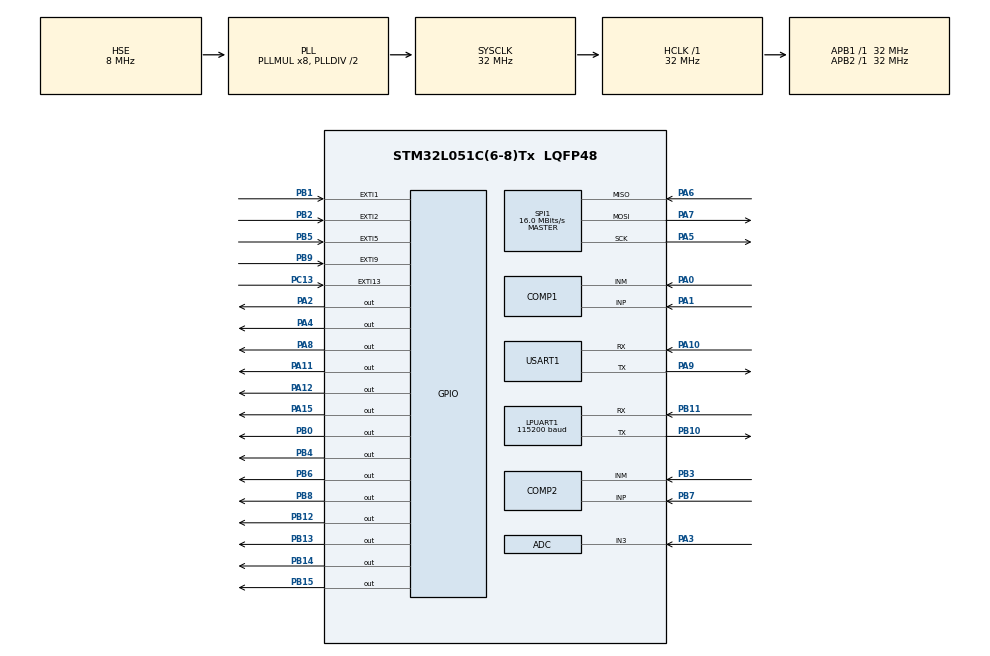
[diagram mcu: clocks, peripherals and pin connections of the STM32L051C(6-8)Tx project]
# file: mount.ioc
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COMP1.TriggerMode=COMP_TRIGGERMODE_IT_RISING
COMP2.TriggerMode=COMP_TRIGGERMODE_IT_RISING
Dma.LPUART1_RX.0.Direction=DMA_PERIPH_TO_MEMORY
Dma.LPUART1_RX.0.Instance=DMA1_Channel3
Dma.LPUART1_RX.0.MemDataAlignment=DMA_MDATAALIGN_BYTE
Dma.LPUART1_RX.0.MemInc=DMA_MINC_ENABLE
Dma.LPUART1_RX.0.Mode=DMA_NORMAL
Dma.LPUART1_RX.0.PeriphDataAlignment=DMA_PDATAALIGN_BYTE
Dma.LPUART1_RX.0.PeriphInc=DMA_PINC_DISABLE
Dma.LPUART1_RX.0.Priority=DMA_PRIORITY_LOW
Dma.Request0=LPUART1_RX
Dma.Request1=USART1_TX
Dma.USART1_TX.1.Direction=DMA_MEMORY_TO_PERIPH
Dma.USART1_TX.1.Instance=DMA1_Channel2
Dma.USART1_TX.1.MemDataAlignment=DMA_MDATAALIGN_BYTE
Dma.USART1_TX.1.MemInc=DMA_MINC_ENABLE
Dma.USART1_TX.1.Mode=DMA_NORMAL
Dma.USART1_TX.1.PeriphDataAlignment=DMA_PDATAALIGN_BYTE
Dma.USART1_TX.1.PeriphInc=DMA_PINC_DISABLE
Dma.USART1_TX.1.Priority=DMA_PRIORITY_LOW
FREERTOS.BinarySemaphores01=Uart1Lock
FREERTOS.INCLUDE_eTaskGetState=1
FREERTOS.Mutexes01=EventLock
FREERTOS.Queues01=EventQ,10,EventTypeDef,NULL;UartQ,16,uint8_t,NULL
FREERTOS.Tasks01=defaultTask,-2,128,StartDefaultTask,Default;eventhandle,3,128,Event_Task,Default;lte,0,256,Lte_Task,Default;s2lhanlde,2,128,S2L_Task,Default
FREERTOS.configTOTAL_HEAP_SIZE=5000
LPUART1.BaudRate=115200
LPUART1.WordLength=UART_WORDLENGTH_8B
Mcu.Family=STM32L0
Mcu.Name=STM32L051C(6-8)Tx
Mcu.Package=LQFP48
NVIC.ADC1_COMP_IRQn=true\:3\:0\:false\:false\:true\:true
NVIC.DMA1_Channel2_3_IRQn=true\:3\:0\:false\:false\:true\:true
NVIC.EXTI0_1_IRQn=true\:3\:0\:false\:false\:true\:true
NVIC.EXTI2_3_IRQn=true\:3\:0\:false\:false\:true\:true
NVIC.EXTI4_15_IRQn=true\:3\:0\:false\:false\:true\:true
NVIC.RTC_IRQn=true\:3\:0\:false\:false\:true\:true
NVIC.USART1_IRQn=true\:3\:0\:false\:false\:false\:true
PA0.Mode=INM
PA0.Signal=COMP1_INM
PA1.Mode=INP
PA1.Signal=COMP1_INP
PA10.Mode=Asynchronous
PA10.Signal=USART1_RX
PA11.Signal=GPIO_Output
PA12.Signal=GPIO_Output
PA13.Mode=Serial_Wire
PA13.Signal=SYS_SWDIO
PA14.Mode=Serial_Wire
PA14.Signal=SYS_SWCLK
PA15.Signal=GPIO_Output
PA2.Signal=GPIO_Output
PA3.Mode=IN3
PA3.Signal=ADC_IN3
PA4.Signal=GPIO_Output
PA5.Mode=Full_Duplex_Master
PA5.Signal=SPI1_SCK
PA6.Mode=Full_Duplex_Master
PA6.Signal=SPI1_MISO
PA7.Mode=Full_Duplex_Master
PA7.Signal=SPI1_MOSI
PA8.Signal=GPIO_Output
PA9.Mode=Asynchronous
PA9.Signal=USART1_TX
PB0.Signal=GPIO_Output
PB1.Signal=GPXTI1
PB10.Mode=Asynchronous
PB10.Signal=LPUART1_TX
PB11.Mode=Asynchronous
PB11.Signal=LPUART1_RX
PB12.Signal=GPIO_Output
PB13.Signal=GPIO_Output
PB14.Signal=GPIO_Output
PB15.Signal=GPIO_Output
PB2.Signal=GPXTI2
PB3.Mode=INM
PB3.Signal=COMP2_INM
PB4.Signal=GPIO_Output
PB5.GPIO_ModeDefaultEXTI=GPIO_MODE_IT_FALLING
PB5.Signal=GPXTI5
PB6.Signal=GPIO_Output
PB7.Mode=INP
PB7.Signal=COMP2_INP
PB8.Signal=GPIO_Output
PB9.GPIO_ModeDefaultEXTI=GPIO_MODE_IT_RISING_FALLING
PB9.Signal=GPXTI9
PC13.GPIO_ModeDefaultEXTI=GPIO_MODE_IT_RISING_FALLING
PC13.GPIO_PuPd=GPIO_PULLUP
PC13.Signal=GPXTI13
PC14-OSC32_IN.Mode=LSE-External-Oscillator
PC14-OSC32_IN.Signal=RCC_OSC32_IN
PC15-OSC32_OUT.Mode=LSE-External-Oscillator
PC15-OSC32_OUT.Signal=RCC_OSC32_OUT
PH0-OSC_IN.Mode=HSE-External-Oscillator
PH0-OSC_IN.Signal=RCC_OSC_IN
PH1-OSC_OUT.Mode=HSE-External-Oscillator
PH1-OSC_OUT.Signal=RCC_OSC_OUT
ProjectManager.HeapSize=0x200
ProjectManager.StackSize=0x400
ProjectManager.TargetToolchain=EWARM
RCC.AHBFreq_Value=32000000
RCC.APB1Freq_Value=32000000
RCC.APB1TimFreq_Value=32000000
RCC.APB2Freq_Value=32000000
RCC.APB2TimFreq_Value=32000000
RCC.HCLKFreq_Value=32000000
RCC.HSE_VALUE=8000000
RCC.HSI16_VALUE=16000000
RCC.HSI_VALUE=16000000
RCC.MSI_VALUE=2097000
RCC.PLLMUL=RCC_PLLMUL_8
RCC.PLLSourceVirtual=RCC_PLLSOURCE_HSE
RCC.SYSCLKFreq_VALUE=32000000
RCC.SYSCLKSource=RCC_SYSCLKSOURCE_PLLCLK
RCC.VCOOutputFreq_Value=64000000
RTC.WakeUpClock-WakeUp=RTC_WAKEUPCLOCK_CK_SPRE_16BITS
RTC.WakeUpCounter-WakeUp=30
SPI1.CalculateBaudRate=16.0 MBits/s
SPI1.Mode=SPI_MODE_MASTER
USART1.WordLength=UART_WORDLENGTH_8B
VP_FREERTOS_VS_ENABLE.Mode=Enabled
VP_RTC_VS_RTC_WakeUp_intern.Mode=WakeUp
board=mount

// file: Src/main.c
/**
  ******************************************************************************
  * File Name          : main.c
  * Description        : Main program body
  ******************************************************************************
  *
  * COPYRIGHT(c) 2017 STMicroelectronics
  *
  * Redistribution and use in source and binary forms, with or without modification,
  * are permitted provided that the following conditions are met:
  *   1. Redistributions of source code must retain the above copyright notice,
  *      this list of conditions and the following disclaimer.
  *   2. Redistributions in binary form must reproduce the above copyright notice,
  *      this list of conditions and the following disclaimer in the documentation
  *      and/or other materials provided with the distribution.
  *   3. Neither the name of STMicroelectronics nor the names of its contributors
  *      may be used to endorse or promote products derived from this software
  *      without specific prior written permission.
  *
  * THIS SOFTWARE IS PROVIDED BY THE COPYRIGHT HOLDERS AND CONTRIBUTORS "AS IS"
  * AND ANY EXPRESS OR IMPLIED WARRANTIES, INCLUDING, BUT NOT LIMITED TO, THE
  * IMPLIED WARRANTIES OF MERCHANTABILITY AND FITNESS FOR A PARTICULAR PURPOSE ARE
  * DISCLAIMED. IN NO EVENT SHALL THE COPYRIGHT HOLDER OR CONTRIBUTORS BE LIABLE
  * FOR ANY DIRECT, INDIRECT, INCIDENTAL, SPECIAL, EXEMPLARY, OR CONSEQUENTIAL
  * DAMAGES (INCLUDING, BUT NOT LIMITED TO, PROCUREMENT OF SUBSTITUTE GOODS OR
  * SERVICES; LOSS OF USE, DATA, OR PROFITS; OR BUSINESS INTERRUPTION) HOWEVER
  * CAUSED AND ON ANY THEORY OF LIABILITY, WHETHER IN CONTRACT, STRICT LIABILITY,
  * OR TORT (INCLUDING NEGLIGENCE OR OTHERWISE) ARISING IN ANY WAY OUT OF THE USE
  * OF THIS SOFTWARE, EVEN IF ADVISED OF THE POSSIBILITY OF SUCH DAMAGE.
  *
  ******************************************************************************
  */
#include "stm32l0xx_hal.h"
#include "cmsis_os.h"

/* USER CODE BEGIN Includes */
#include "bsp.h"
#include <stdio.h>

#include "task.h"
#include "event.h"
#include "lis3dx.h"
#include "lte.h"
#include "s2l.h"
#include "cJSON.h"
#include "stdlib.h"
#include "fhex.h"
/* USER CODE END Includes */

ADC_HandleTypeDef hadc;

COMP_HandleTypeDef hcomp1;
COMP_HandleTypeDef hcomp2;

UART_HandleTypeDef hlpuart1;
UART_HandleTypeDef huart1;
DMA_HandleTypeDef hdma_lpuart1_rx;
DMA_HandleTypeDef hdma_usart1_tx;

RTC_HandleTypeDef hrtc;

SPI_HandleTypeDef hspi1;

osThreadId defaultTaskHandle;
osThreadId eventhandleHandle;
osThreadId lteHandle;
osThreadId s2lhanldeHandle;
osMessageQId EventQHandle;
osMessageQId UartQHandle;
osMutexId EventLockHandle;
osSemaphoreId Uart1LockHandle;

/* USER CODE BEGIN PV */
/* Private variables ---------------------------------------------------------*/

/* USER CODE END PV */

void SystemClock_Config(void);
void Error_Handler(void);
static void MX_GPIO_Init(void);
static void MX_DMA_Init(void);
static void MX_ADC_Init(void);
static void MX_COMP1_Init(void);
static void MX_COMP2_Init(void);
static void MX_LPUART1_UART_Init(void);
static void MX_USART1_UART_Init(void);
static void MX_SPI1_Init(void);
static void MX_RTC_Init(void);
void StartDefaultTask(void const * argument);
void Event_Task(void const * argument);
void Lte_Task(void const * argument);
void S2L_Task(void const * argument);

/* USER CODE BEGIN PFP */
/* Private function prototypes -----------------------------------------------*/

/* USER CODE END PFP */

int main(void)
{

  /* MCU Configuration----------------------------------------------------------*/

  /* Reset of all peripherals, Initializes the Flash interface and the Systick. */
  HAL_Init();

  /* Configure the system clock */
  SystemClock_Config();

  /* Initialize all configured peripherals */
  MX_GPIO_Init();
  MX_DMA_Init();
  MX_ADC_Init();
  MX_COMP1_Init();
  MX_COMP2_Init();
  MX_LPUART1_UART_Init();
  MX_USART1_UART_Init();
  MX_SPI1_Init();
  MX_RTC_Init();

  /* USER CODE BEGIN 2 */
  //test();
  /* USER CODE END 2 */

  /* Create the mutex(es) */
  /* definition and creation of EventLock */
  osMutexDef(EventLock);
  EventLockHandle = osMutexCreate(osMutex(EventLock));

  /* Create the semaphores(s) */
  /* definition and creation of Uart1Lock */
  osSemaphoreDef(Uart1Lock);
  Uart1LockHandle = osSemaphoreCreate(osSemaphore(Uart1Lock), 1);

  /* Create the thread(s) */
  /* definition and creation of defaultTask */
  osThreadDef(defaultTask, StartDefaultTask, osPriorityLow, 0, 128);
  defaultTaskHandle = osThreadCreate(osThread(defaultTask), NULL);

  /* definition and creation of eventhandle */
  osThreadDef(eventhandle, Event_Task, osPriorityRealtime, 0, 128);
  eventhandleHandle = osThreadCreate(osThread(eventhandle), NULL);

  /* definition and creation of lte */
  osThreadDef(lte, Lte_Task, osPriorityNormal, 0, 256);
  lteHandle = osThreadCreate(osThread(lte), NULL);

  /* definition and creation of s2lhanlde */
  osThreadDef(s2lhanlde, S2L_Task, osPriorityHigh, 0, 128);
  s2lhanldeHandle = osThreadCreate(osThread(s2lhanlde), NULL);

  /* Create the queue(s) */
  /* definition and creation of EventQ */
  osMessageQDef(EventQ, 10, EventTypeDef);
  EventQHandle = osMessageCreate(osMessageQ(EventQ), NULL);

  /* definition and creation of UartQ */
  osMessageQDef(UartQ, 16, uint8_t);
  UartQHandle = osMessageCreate(osMessageQ(UartQ), NULL);

  /* USER CODE BEGIN RTOS_QUEUES */
  /* add queues, ... */
  //HAL_Delay(20);
#ifdef S2L_DEBUG
  S2L_LOG("bsp init\r\n");
#else
  printf("bsp init\r\n");
#endif

  BspInit();
  /* USER CODE END RTOS_QUEUES */

  /* Start scheduler */
  osKernelStart();

  /* We should never get here as control is now taken by the scheduler */

  /* Infinite loop */
  while (1)
  {

  }

}

/** System Clock Configuration
*/
void SystemClock_Config(void)
{

  RCC_OscInitTypeDef RCC_OscInitStruct;
  RCC_ClkInitTypeDef RCC_ClkInitStruct;
  RCC_PeriphCLKInitTypeDef PeriphClkInit;

  __HAL_RCC_PWR_CLK_ENABLE();

  __HAL_PWR_VOLTAGESCALING_CONFIG(PWR_REGULATOR_VOLTAGE_SCALE1);

  RCC_OscInitStruct.OscillatorType = RCC_OSCILLATORTYPE_LSI|RCC_OSCILLATORTYPE_HSE;
  RCC_OscInitStruct.HSEState = RCC_HSE_ON;
  RCC_OscInitStruct.LSIState = RCC_LSI_ON;
  RCC_OscInitStruct.PLL.PLLState = RCC_PLL_ON;
  RCC_OscInitStruct.PLL.PLLSource = RCC_PLLSOURCE_HSE;
  RCC_OscInitStruct.PLL.PLLMUL = RCC_PLLMUL_8;
  RCC_OscInitStruct.PLL.PLLDIV = RCC_PLLDIV_2;
  if (HAL_RCC_OscConfig(&RCC_OscInitStruct) != HAL_OK)
  {
    Error_Handler();
  }

  RCC_ClkInitStruct.ClockType = RCC_CLOCKTYPE_HCLK|RCC_CLOCKTYPE_SYSCLK
                              |RCC_CLOCKTYPE_PCLK1|RCC_CLOCKTYPE_PCLK2;
  RCC_ClkInitStruct.SYSCLKSource = RCC_SYSCLKSOURCE_PLLCLK;
  RCC_ClkInitStruct.AHBCLKDivider = RCC_SYSCLK_DIV1;
  RCC_ClkInitStruct.APB1CLKDivider = RCC_HCLK_DIV1;
  RCC_ClkInitStruct.APB2CLKDivider = RCC_HCLK_DIV1;
  if (HAL_RCC_ClockConfig(&RCC_ClkInitStruct, FLASH_LATENCY_1) != HAL_OK)
  {
    Error_Handler();
  }

  PeriphClkInit.PeriphClockSelection = RCC_PERIPHCLK_USART1|RCC_PERIPHCLK_LPUART1
                              |RCC_PERIPHCLK_RTC;
  PeriphClkInit.Usart1ClockSelection = RCC_USART1CLKSOURCE_PCLK2;
  PeriphClkInit.Lpuart1ClockSelection = RCC_LPUART1CLKSOURCE_PCLK1;
  PeriphClkInit.RTCClockSelection = RCC_RTCCLKSOURCE_LSI;
  if (HAL_RCCEx_PeriphCLKConfig(&PeriphClkInit) != HAL_OK)
  {
    Error_Handler();
  }

  HAL_SYSTICK_Config(HAL_RCC_GetHCLKFreq()/1000);

  HAL_SYSTICK_CLKSourceConfig(SYSTICK_CLKSOURCE_HCLK);

  /* SysTick_IRQn interrupt configuration */
  HAL_NVIC_SetPriority(SysTick_IRQn, 3, 0);
}

/* ADC init function */
static void MX_ADC_Init(void)
{

  ADC_ChannelConfTypeDef sConfig;

    /**Configure the global features of the ADC (Clock, Resolution, Data Alignment and number of conversion)
    */
  hadc.Instance = ADC1;
  hadc.Init.OversamplingMode = DISABLE;
  hadc.Init.ClockPrescaler = ADC_CLOCK_SYNC_PCLK_DIV2;
  hadc.Init.Resolution = ADC_RESOLUTION_12B;
  hadc.Init.SamplingTime = ADC_SAMPLETIME_1CYCLE_5;
  hadc.Init.ScanConvMode = ADC_SCAN_DIRECTION_FORWARD;
  hadc.Init.DataAlign = ADC_DATAALIGN_RIGHT;
  hadc.Init.ContinuousConvMode = DISABLE;
  hadc.Init.DiscontinuousConvMode = DISABLE;
  hadc.Init.ExternalTrigConvEdge = ADC_EXTERNALTRIGCONVEDGE_NONE;
  hadc.Init.DMAContinuousRequests = DISABLE;
  hadc.Init.EOCSelection = ADC_EOC_SINGLE_CONV;
  hadc.Init.Overrun = ADC_OVR_DATA_PRESERVED;
  hadc.Init.LowPowerAutoWait = DISABLE;
  hadc.Init.LowPowerFrequencyMode = DISABLE;
  hadc.Init.LowPowerAutoPowerOff = DISABLE;
  if (HAL_ADC_Init(&hadc) != HAL_OK)
  {
    Error_Handler();
  }

    /**Configure for the selected ADC regular channel to be converted.
    */
  sConfig.Channel = ADC_CHANNEL_3;
  sConfig.Rank = ADC_RANK_CHANNEL_NUMBER;
  if (HAL_ADC_ConfigChannel(&hadc, &sConfig) != HAL_OK)
  {
    Error_Handler();
  }

}

/* COMP1 init function */
static void MX_COMP1_Init(void)
{

  hcomp1.Instance = COMP1;
  hcomp1.Init.InvertingInput = COMP_INPUT_MINUS_IO1;
  hcomp1.Init.NonInvertingInput = COMP_INPUT_PLUS_IO1;
  hcomp1.Init.LPTIMConnection = COMP_LPTIMCONNECTION_DISABLED;
  hcomp1.Init.OutputPol = COMP_OUTPUTPOL_NONINVERTED;
  hcomp1.Init.Mode = COMP_POWERMODE_ULTRALOWPOWER;
  hcomp1.Init.WindowMode = COMP_WINDOWMODE_DISABLE;
  hcomp1.Init.TriggerMode = COMP_TRIGGERMODE_IT_RISING;
  if (HAL_COMP_Init(&hcomp1) != HAL_OK)
  {
    Error_Handler();
  }

}

/* COMP2 init function */
static void MX_COMP2_Init(void)
{

  hcomp2.Instance = COMP2;
  hcomp2.Init.InvertingInput = COMP_INPUT_MINUS_IO2;
  hcomp2.Init.NonInvertingInput = COMP_INPUT_PLUS_IO5;
  hcomp2.Init.LPTIMConnection = COMP_LPTIMCONNECTION_DISABLED;
  hcomp2.Init.OutputPol = COMP_OUTPUTPOL_NONINVERTED;
  hcomp2.Init.Mode = COMP_POWERMODE_MEDIUMSPEED;
  hcomp2.Init.WindowMode = COMP_WINDOWMODE_DISABLE;
  hcomp2.Init.TriggerMode = COMP_TRIGGERMODE_IT_RISING;
  if (HAL_COMP_Init(&hcomp2) != HAL_OK)
  {
    Error_Handler();
  }

}

/* LPUART1 init function */
static void MX_LPUART1_UART_Init(void)
{

  hlpuart1.Instance = LPUART1;
  hlpuart1.Init.BaudRate = 115200;
  hlpuart1.Init.WordLength = UART_WORDLENGTH_8B;
  hlpuart1.Init.StopBits = UART_STOPBITS_1;
  hlpuart1.Init.Parity = UART_PARITY_NONE;
  hlpuart1.Init.Mode = UART_MODE_TX_RX;
  hlpuart1.Init.HwFlowCtl = UART_HWCONTROL_NONE;
  hlpuart1.Init.OneBitSampling = UART_ONE_BIT_SAMPLE_DISABLE;
  hlpuart1.AdvancedInit.AdvFeatureInit = UART_ADVFEATURE_NO_INIT;
  if (HAL_UART_Init(&hlpuart1) != HAL_OK)
  {
    Error_Handler();
  }

}

/* USART1 init function */
static void MX_USART1_UART_Init(void)
{

  huart1.Instance = USART1;
  huart1.Init.BaudRate = 115200;
  huart1.Init.WordLength = UART_WORDLENGTH_8B;
  huart1.Init.StopBits = UART_STOPBITS_1;
  huart1.Init.Parity = UART_PARITY_NONE;
  huart1.Init.Mode = UART_MODE_TX_RX;
  huart1.Init.HwFlowCtl = UART_HWCONTROL_NONE;
  huart1.Init.OverSampling = UART_OVERSAMPLING_16;
  huart1.Init.OneBitSampling = UART_ONE_BIT_SAMPLE_DISABLE;
  huart1.AdvancedInit.AdvFeatureInit = UART_ADVFEATURE_NO_INIT;
  if (HAL_UART_Init(&huart1) != HAL_OK)
  {
    Error_Handler();
  }

}

/* RTC init function */
static void MX_RTC_Init(void)
{

  RTC_TimeTypeDef sTime;
  RTC_DateTypeDef sDate;

    /**Initialize RTC and set the Time and Date
    */
  hrtc.Instance = RTC;
  hrtc.Init.HourFormat = RTC_HOURFORMAT_24;
  hrtc.Init.AsynchPrediv = 127;
  hrtc.Init.SynchPrediv = 255;
  hrtc.Init.OutPut = RTC_OUTPUT_DISABLE;
  hrtc.Init.OutPutRemap = RTC_OUTPUT_REMAP_NONE;
  hrtc.Init.OutPutPolarity = RTC_OUTPUT_POLARITY_HIGH;
  hrtc.Init.OutPutType = RTC_OUTPUT_TYPE_OPENDRAIN;
  if (HAL_RTC_Init(&hrtc) != HAL_OK)
  {
    Error_Handler();
  }

  sTime.Hours = 0x0;
  sTime.Minutes = 0x0;
  sTime.Seconds = 0x0;
  sTime.DayLightSaving = RTC_DAYLIGHTSAVING_NONE;
  sTime.StoreOperation = RTC_STOREOPERATION_RESET;
  if (HAL_RTC_SetTime(&hrtc, &sTime, RTC_FORMAT_BCD) != HAL_OK)
  {
    Error_Handler();
  }

  sDate.WeekDay = RTC_WEEKDAY_MONDAY;
  sDate.Month = RTC_MONTH_JANUARY;
  sDate.Date = 0x1;
  sDate.Year = 0x0;

  if (HAL_RTC_SetDate(&hrtc, &sDate, RTC_FORMAT_BCD) != HAL_OK)
  {
    Error_Handler();
  }

    /**Enable the WakeUp
    */
  if (HAL_RTCEx_SetWakeUpTimer_IT(&hrtc, 600, RTC_WAKEUPCLOCK_CK_SPRE_16BITS) != HAL_OK)
  {
    Error_Handler();
  }

}

/* SPI1 init function */
static void MX_SPI1_Init(void)
{

  hspi1.Instance = SPI1;
  hspi1.Init.Mode = SPI_MODE_MASTER;
  hspi1.Init.Direction = SPI_DIRECTION_2LINES;
  hspi1.Init.DataSize = SPI_DATASIZE_8BIT;
  hspi1.Init.CLKPolarity = SPI_POLARITY_LOW;
  hspi1.Init.CLKPhase = SPI_PHASE_1EDGE;
  hspi1.Init.NSS = SPI_NSS_SOFT;
  hspi1.Init.BaudRatePrescaler = SPI_BAUDRATEPRESCALER_2;
  hspi1.Init.FirstBit = SPI_FIRSTBIT_MSB;
  hspi1.Init.TIMode = SPI_TIMODE_DISABLE;
  hspi1.Init.CRCCalculation = SPI_CRCCALCULATION_DISABLE;
  hspi1.Init.CRCPolynomial = 7;
  if (HAL_SPI_Init(&hspi1) != HAL_OK)
  {
    Error_Handler();
  }

}

static void MX_DMA_Init(void)
{
  /* DMA controller clock enable */
  __HAL_RCC_DMA1_CLK_ENABLE();

  /* DMA interrupt init */
  /* DMA1_Channel2_3_IRQn interrupt configuration */
  HAL_NVIC_SetPriority(DMA1_Channel2_3_IRQn, 3, 0);
  HAL_NVIC_EnableIRQ(DMA1_Channel2_3_IRQn);

}

/** Configure pins as
        * Analog
        * Input
        * Output
        * EVENT_OUT
        * EXTI
*/
static void MX_GPIO_Init(void)
{

  GPIO_InitTypeDef GPIO_InitStruct;

  /* GPIO Ports Clock Enable */
  __HAL_RCC_GPIOC_CLK_ENABLE();
  __HAL_RCC_GPIOH_CLK_ENABLE();
  __HAL_RCC_GPIOA_CLK_ENABLE();
  __HAL_RCC_GPIOB_CLK_ENABLE();

  /*Configure GPIO pin : PC13 */
  GPIO_InitStruct.Pin = GPIO_PIN_13;
  GPIO_InitStruct.Mode = GPIO_MODE_IT_RISING_FALLING;
  GPIO_InitStruct.Pull = GPIO_PULLUP;
  HAL_GPIO_Init(GPIOC, &GPIO_InitStruct);

  /*Configure GPIO pins : PA2 PA4 PA8 PA11
                           PA12 PA15 */
  GPIO_InitStruct.Pin = GPIO_PIN_2|GPIO_PIN_4|GPIO_PIN_8|GPIO_PIN_11
                          |GPIO_PIN_12|GPIO_PIN_15;
  GPIO_InitStruct.Mode = GPIO_MODE_OUTPUT_PP;
  GPIO_InitStruct.Pull = GPIO_NOPULL;
  GPIO_InitStruct.Speed = GPIO_SPEED_FREQ_LOW;
  HAL_GPIO_Init(GPIOA, &GPIO_InitStruct);

  /*Configure GPIO pins : PB0 PB12 PB13 PB14
                           PB15 PB4 PB6 PB8 */
  GPIO_InitStruct.Pin = GPIO_PIN_0|GPIO_PIN_12|GPIO_PIN_13|GPIO_PIN_14
                          |GPIO_PIN_15|GPIO_PIN_4|GPIO_PIN_6|GPIO_PIN_8;
  GPIO_InitStruct.Mode = GPIO_MODE_OUTPUT_PP;
  GPIO_InitStruct.Pull = GPIO_NOPULL;
  GPIO_InitStruct.Speed = GPIO_SPEED_FREQ_LOW;
  HAL_GPIO_Init(GPIOB, &GPIO_InitStruct);

  /*Configure GPIO pins : PB1 PB2 */
  GPIO_InitStruct.Pin = GPIO_PIN_1|GPIO_PIN_2;
  GPIO_InitStruct.Mode = GPIO_MODE_IT_RISING;
  GPIO_InitStruct.Pull = GPIO_NOPULL;
  HAL_GPIO_Init(GPIOB, &GPIO_InitStruct);

  /*Configure GPIO pin : PB5 */
  GPIO_InitStruct.Pin = GPIO_PIN_5;
  GPIO_InitStruct.Mode = GPIO_MODE_IT_FALLING;
  GPIO_InitStruct.Pull = GPIO_NOPULL;
  HAL_GPIO_Init(GPIOB, &GPIO_InitStruct);

  /*Configure GPIO pin : PB9 */
  GPIO_InitStruct.Pin = GPIO_PIN_9;
  GPIO_InitStruct.Mode = GPIO_MODE_IT_RISING_FALLING;
  GPIO_InitStruct.Pull = GPIO_NOPULL;
  HAL_GPIO_Init(GPIOB, &GPIO_InitStruct);

  /*Configure GPIO pin Output Level */
  HAL_GPIO_WritePin(GPIOA, GPIO_PIN_2|GPIO_PIN_4|GPIO_PIN_8|GPIO_PIN_11
                          |GPIO_PIN_12|GPIO_PIN_15, GPIO_PIN_RESET);

  /*Configure GPIO pin Output Level */
  HAL_GPIO_WritePin(GPIOB, GPIO_PIN_0|GPIO_PIN_12|GPIO_PIN_13|GPIO_PIN_14
                          |GPIO_PIN_15|GPIO_PIN_4|GPIO_PIN_6|GPIO_PIN_8, GPIO_PIN_RESET);

  /* EXTI interrupt init*/
  HAL_NVIC_SetPriority(EXTI0_1_IRQn, 3, 0);
  HAL_NVIC_EnableIRQ(EXTI0_1_IRQn);

  HAL_NVIC_SetPriority(EXTI2_3_IRQn, 3, 0);
  HAL_NVIC_EnableIRQ(EXTI2_3_IRQn);

  HAL_NVIC_SetPriority(EXTI4_15_IRQn, 3, 0);
  HAL_NVIC_EnableIRQ(EXTI4_15_IRQn);

}

/* USER CODE BEGIN 4 */

extern int16_t accel[3];
uint8_t cnt;
/* USER CODE END 4 */

/* StartDefaultTask function */
void StartDefaultTask(void const * argument)
{

  /* USER CODE BEGIN 5 */
  /* Infinite loop */
  uint32_t t=0;
  for(;;)
  {
    accel_read(accel);
    osDelay(1000);
    //LedSet(0,t%2);
    //LedSet(1,t%2);
    //LedSet(2,t%2);
    cnt=ReadIntCnt();
    //printf("%d\n",t);
    t++;

  }
  /* USER CODE END 5 */
}

/* Event_Task function */
void Event_Task(void const * argument)
{
  /* USER CODE BEGIN Event_Task */
  EventTask();
  /* Infinite loop */
  for(;;)
  {
    osDelay(1000);
  }
  /* USER CODE END Event_Task */
}

/* Lte_Task function */
void Lte_Task(void const * argument)
{
  /* USER CODE BEGIN Lte_Task */
  LteTask();
  /* Infinite loop */
  for(;;)
  {
    osDelay(1000);
  }
  /* USER CODE END Lte_Task */
}

/* S2L_Task function */
void S2L_Task(void const * argument)
{
  /* USER CODE BEGIN S2L_Task */
  S2lTask();
  /* Infinite loop */
  for(;;)
  {
    osDelay(1);
  }
  /* USER CODE END S2L_Task */
}

void Error_Handler(void)
{
  while(1)
  {
  }
}

/************************ (C) COPYRIGHT STMicroelectronics *****END OF FILE****/
